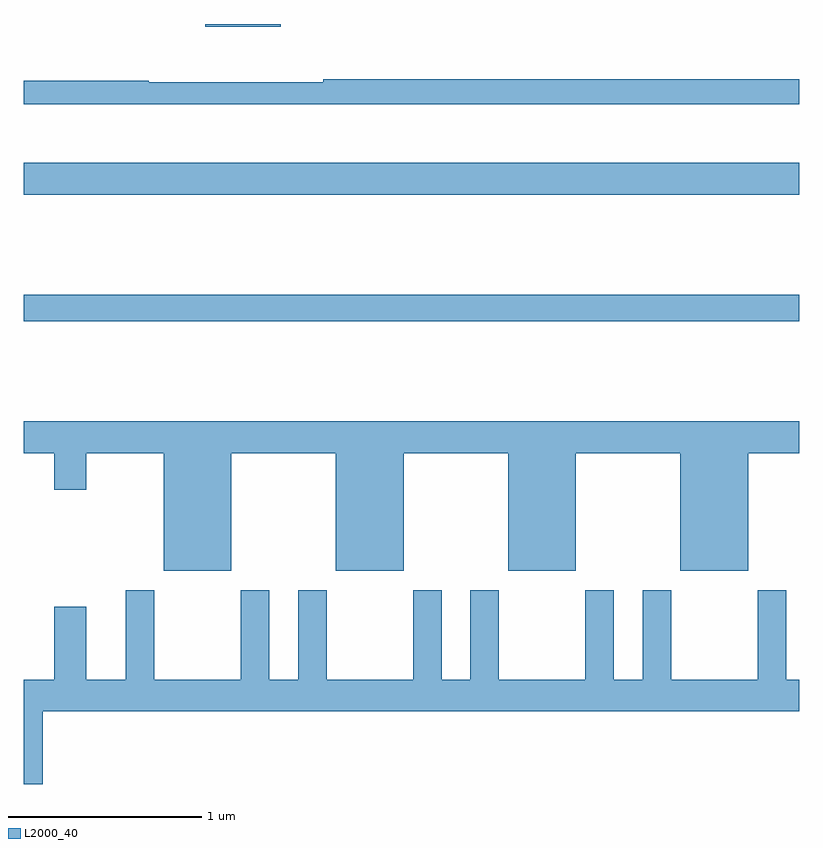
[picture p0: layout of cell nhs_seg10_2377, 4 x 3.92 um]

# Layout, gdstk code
import gdstk
lib = gdstk.Library(unit=1e-6, precision=1e-09)
def R(c, l, rs):  # rectangles x0, y0, x1, y1
    for r in rs: c.add(gdstk.rectangle(r[:2], r[2:], *l))
def P(c, l, *ps):  # polygons
    for p in ps: c.add(gdstk.Polygon(p, *l))
L2000_40 = (2000, 40)

nhs_seg10_2377 = lib.new_cell('nhs_seg10_2377')
R(nhs_seg10_2377, L2000_40, [(237,1328.968,241,1329.104), (237,1329.62,241,1329.784), (237.938,1330.487,238.327,1330.5)])
P(nhs_seg10_2377, L2000_40, [(241,1330.214),(238.545,1330.214),(238.545,1330.199),(237.645,1330.199),(237.645,1330.207),(237,1330.207),(237,1330.086),(241,1330.086)],
  [(238.072,1328.288),(238.61,1328.288),(238.61,1327.682),(238.96,1327.682),(238.96,1328.288),(239.498,1328.288),(239.498,1327.682),(239.848,1327.682),(239.848,1328.288),(240.386,1328.288),(240.386,1327.682),(240.736,1327.682),(240.736,1328.288),(241,1328.288),(241,1328.452),(237,1328.452),(237,1328.288),(237.158,1328.288),(237.158,1328.1),(237.322,1328.1),(237.322,1328.288),(237.722,1328.288),(237.722,1327.682),(238.072,1327.682)],
  [(237.1,1326.956),(241,1326.956),(241,1327.12),(240.931,1327.12),(240.931,1327.582),(240.784,1327.582),(240.784,1327.12),(240.339,1327.12),(240.339,1327.582),(240.191,1327.582),(240.191,1327.12),(240.043,1327.12),(240.043,1327.582),(239.896,1327.582),(239.896,1327.12),(239.451,1327.12),(239.451,1327.582),(239.303,1327.582),(239.303,1327.12),(239.155,1327.12),(239.155,1327.582),(239.008,1327.582),(239.008,1327.12),(238.563,1327.12),(238.563,1327.582),(238.415,1327.582),(238.415,1327.12),(238.267,1327.12),(238.267,1327.582),(238.12,1327.582),(238.12,1327.12),(237.675,1327.12),(237.675,1327.582),(237.527,1327.582),(237.527,1327.12),(237.322,1327.12),(237.322,1327.495),(237.158,1327.495),(237.158,1327.12),(237,1327.12),(237,1326.582),(237.1,1326.582)])

lib.write_gds('nhs_seg10_2377.gds')
